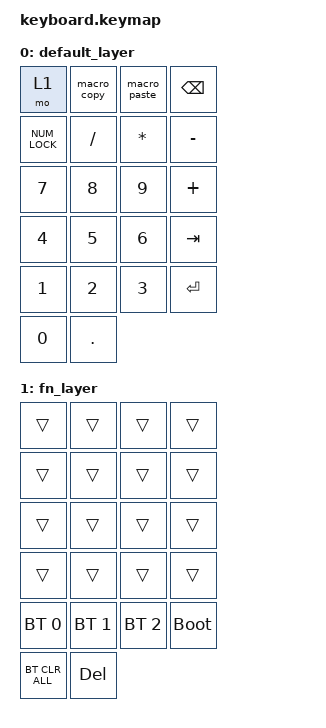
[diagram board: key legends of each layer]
#include <behaviors.dtsi>
#include <dt-bindings/zmk/bt.h>
#include <dt-bindings/zmk/keys.h>

/ {
    behaviors {
        // Ctrl+C 复制宏
        macro_copy: behavior_macro_copy {
            compatible = "zmk,behavior-macro";
            label = "MACRO_COPY";
            #binding-cells = <0>;
            bindings = <
                &kp LCTRL &kp C &kp LCTRL
            >;
            wait-ms = <10>; // 小延迟确保组合键正确执行
        };
        
        // Ctrl+V 粘贴宏
        macro_paste: behavior_macro_paste {
            compatible = "zmk,behavior-macro";
            label = "MACRO_PASTE";
            #binding-cells = <0>;
            bindings = <
                &kp LCTRL &kp V &kp LCTRL
            >;
            wait-ms = <10>;
        };
    };
    keymap {
        compatible = "zmk,keymap";

        default_layer {
        // ----------------------------------------------
        // |     FN     |     COPY     |     PASTE     |    BSPC    |
        // |    NUM     |      /       |      *        |     -      |
        // |     7      |      8       |      9        |     +      |
        // |     4      |      5       |      6        |    TAP     |
        // |     1      |      2       |      3        |    ENTER   |
        // |     0      |      .       | 
    
            bindings = <
&mo 1          &macro_copy  &macro_paste  &kp BSPC
&kp NUM_LOCK   &kp FSLH     &kp STAR      &kp MINUS
&kp N7         &kp N8       &kp N9        &kp PLUS
&kp N4         &kp N5       &kp N6        &kp TAB
&kp N1         &kp N2       &kp N3        &kp RET
&kp N0         &kp DOT   
            >;
        };

        fn_layer {
            bindings = <
&trans          &trans        &trans        &trans
&trans          &trans        &trans        &trans
&trans          &trans        &trans        &trans
&trans          &trans        &trans        &trans
&bt BT_SEL 0    &bt BT_SEL 1  &bt BT_SEL 2  &bootloader
&bt BT_CLR_ALL  &kp DEL       
            >;
        };
    };
};
